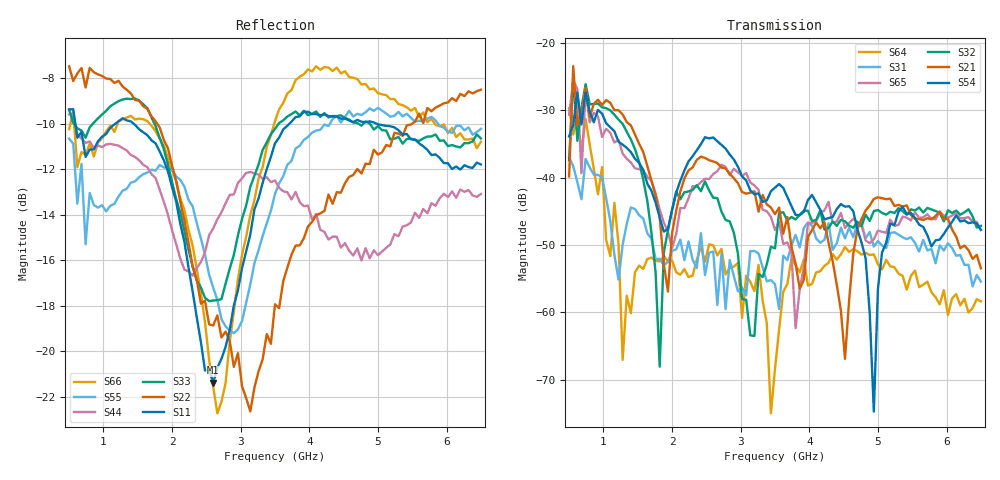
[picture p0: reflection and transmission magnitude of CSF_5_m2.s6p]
!Keysight Technologies,M9804A,MY58100912,A.14.10.03
!Date: Thursday, April 27, 2023 10:28:33
!Correction: S11(C  6-Port  )
!S12(C  6-Port  )
!S13(C  6-Port  )
!S14(C  6-Port  )
!S15(C  6-Port  )
!S16(C  6-Port  )
!S21(C  6-Port  )
!S22(C  6-Port  )
!S23(C  6-Port  )
!S24(C  6-Port  )
!S25(C  6-Port  )
!S26(C  6-Port  )
!S31(C  6-Port  )
!S32(C  6-Port  )
!S33(C  6-Port  )
!S34(C  6-Port  )
!S35(C  6-Port  )
!S36(C  6-Port  )
!S41(C  6-Port  )
!S42(C  6-Port  )
!S43(C  6-Port  )
!S44(C  6-Port  )
!S45(C  6-Port  )
!S46(C  6-Port  )
!S51(C  6-Port  )
!S52(C  6-Port  )
!S53(C  6-Port  )
!S54(C  6-Port  )
!S55(C  6-Port  )
!S56(C  6-Port  )
!S61(C  6-Port  )
!S62(C  6-Port  )
!S63(C  6-Port  )
!S64(C  6-Port  )
!S65(C  6-Port  )
!S66(C  6-Port  )
!S6P File: Measurement: :
# Hz S  RI  R 50
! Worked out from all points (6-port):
!   101 points, 500 MHz to 6.5 GHz, reference 50 ohm
!   strongest paths, dB at 500 MHz, 2 GHz, 3.5 GHz, 5 GHz, 6.5 GHz:
!     S54: -33.9, -44.8, -41.5, -56.5, -47.7
!     S21: -39.8, -48.3, -45.4, -42.9, -53.5
!     S32: -37.4, -44.8, -50.5, -44.8, -47.2
!     S65: -30.6, -50.5, -47.8, -47.9, -47.8
!     S31: -37.0, -50.9, -55.8, -49.4, -55.4
!     S64: -29.7, -52.3, -68.4, -52.9, -58.4
!   lowest |S11| = -21.4 dB at 2.6 GHz (marker M1), VSWR 1.19, Z = 42.4 + j2.2 ohm
!   |S11| at or under -10 dB: 590.2 MHz to 1.175 GHz (585.1 MHz wide, 66.3 % of centre); 1.438 GHz to 3.712 GHz (2.274 GHz wide, 88.3 % of centre); 4.976 GHz to end of sweep
